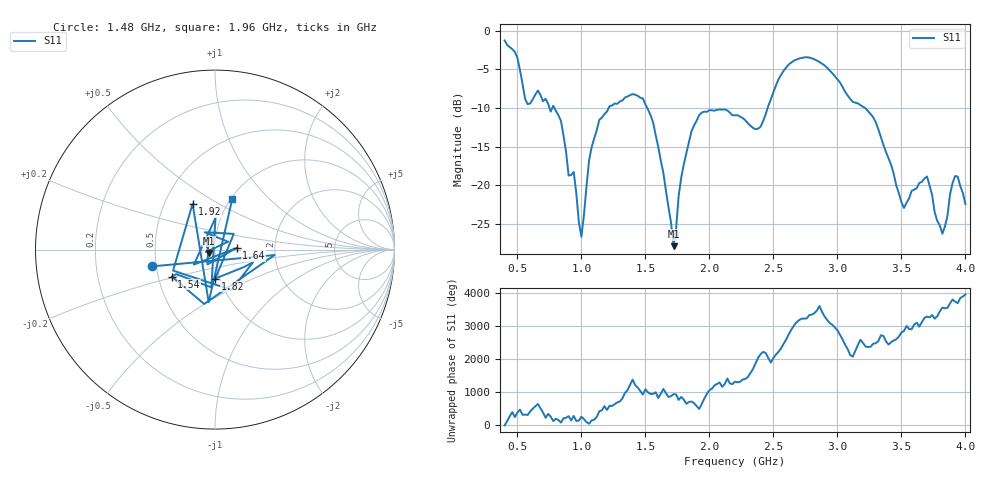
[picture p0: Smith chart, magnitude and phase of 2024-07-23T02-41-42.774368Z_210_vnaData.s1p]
!Created with skrf (http://scikit-rf.org).
# Hz S RI R 50.0
!freq ReS11 ImS11
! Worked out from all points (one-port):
!   181 points, 400 MHz to 4 GHz, reference 50 ohm
!   lowest |S11| = -27.9 dB at 1.72 GHz (marker M1), VSWR 1.08, Z = 46.5 - j1.69 ohm
!   |S11| at or under -10 dB: 788.7 MHz to 1.213 GHz (424.8 MHz wide, 42.4 % of centre); 1.514 GHz to 2.455 GHz (941.3 MHz wide, 47.4 % of centre); 3.216 GHz to end of sweep (the widest 3 of 4)
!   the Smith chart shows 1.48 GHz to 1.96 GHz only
!   S11 on the Smith chart (normalised r, x): 1.48 GHz: 0.47, -0.10; 1.54 GHz: 0.59, -0.19; 1.64 GHz: 1.27, +0.02; 1.82 GHz: 0.95, -0.32; 1.92 GHz: 0.69, +0.38; 1.96 GHz: 1.02, +0.63
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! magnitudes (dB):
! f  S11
! 400 MHz  -1.3
! 580 MHz  -9.5
! 660 MHz  -7.8
! 860 MHz  -13.6
! 900 MHz  -18.8
! 940 MHz  -18.3
! 1 GHz  -26.7
! 1.06 GHz  -16.8
! 1.14 GHz  -11.5
! 1.3 GHz  -9.2
! 1.48 GHz  -8.8
! 1.54 GHz  -10.9
! 1.64 GHz  -18.4
! 1.72 GHz  -27.9
! 1.76 GHz  -21.4
! 1.82 GHz  -15.9
! 1.92 GHz  -10.9
! 1.96 GHz  -10.5
! 2.2 GHz  -10.9
! 2.4 GHz  -12.4
! 2.66 GHz  -3.9
! 3.1 GHz  -8.8
! 3.28 GHz  -11.2
! 3.56 GHz  -21.7
! 3.7 GHz  -18.9
! 3.82 GHz  -26.3
! 3.92 GHz  -18.8
! 4 GHz  -22.4
